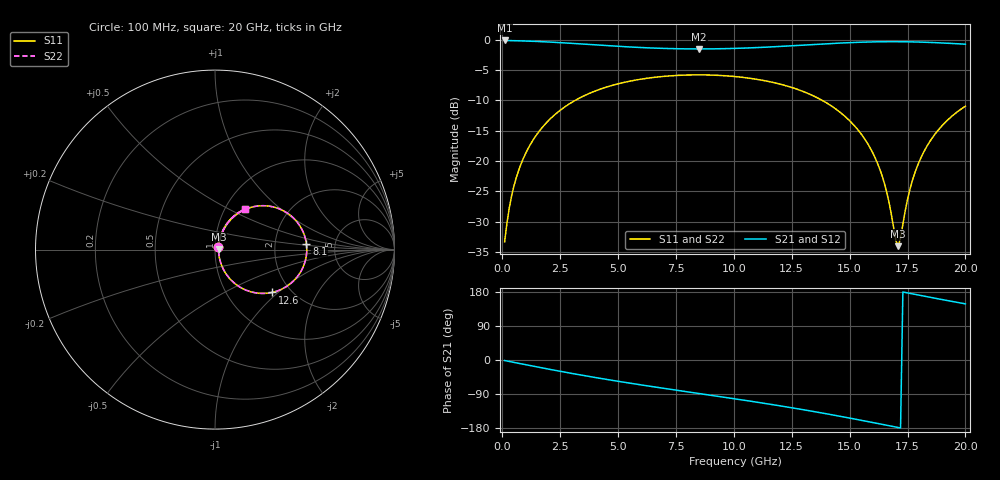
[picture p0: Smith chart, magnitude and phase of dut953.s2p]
! Touchstone file exported from HFSS 2026.1.0
!  File:  C:/ffzhzh/LocalFiles/Ansys_Project_Files/temp_train_TSV_RDL_953_1783283489_30076.aedt
!  Generated:  04:43:00 AM Jul  6, 2026
!  Design:  TSV_RDL
!  Project:  temp_train_TSV_RDL_953_1783283489_30076
! Variables:
!  h_bsmrdl = 3.24um
!  h_ox = 20um
!  h_rdl = 5um
!  h_sub = 88.13um
!  h_tmrdl = 2.65um
!  h_tsv = 88.13um
!  h_via = 3um
!  l_bsmrdl = 164.02um
!  l_sub = 3382.29um
!  l_tmrdl = 579.35um
!  m_sub = 200um
!  pitch = 53.64um
!  r_tsv = 4.22um
!  s_tmrdl = 10um
!  w_bsmrdl = 29.2um
!  w_sub = 500um
!  w_tmrdl = 28.41um
!  x_tsv_center1 = 593.555um
!  x_tsv_center2 = 786.775um
!  x_tsv_center3 = 1394.535um
!  x_tsv_center4 = 1587.755um
!  x_tsv_center5 = 2195.515um
!  x_tsv_center6 = 2388.735um
# GHz S MA R 50.000000
! Terminal data exported
! Port[1] = TM_RDL1_1_T1
! Port[2] = TM_RDL5_1_T1
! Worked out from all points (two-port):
!   200 points, 100 MHz to 20 GHz, reference 50 ohm
!   highest |S21| = -0.15 dB at 100 MHz (marker M1); lowest = -1.6 dB at 8.5 GHz (marker M2)
!   |S21| within 3 dB of the highest: start of sweep to end of sweep
!   lowest |S11| = -34.1 dB at 17.1 GHz (marker M3), VSWR 1.04, Z = 52 + j0.15 ohm
!   |S11| at or under -10 dB: start of sweep to 3.162 GHz; 13.8 GHz to end of sweep
!   |S22| runs from -33.9 to -5.8 dB; largest |S21 - S12| = 1.6e-14
!   S11 on the Smith chart (normalised r, x): 100 MHz: 1.04, +0.02; 8.1 GHz: 3.06, +0.24; 12.6 GHz: 1.61, -0.91; 20 GHz: 1.24, +0.61
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0.1  0.0215 33.9  0.9824 -1.3  0.9824 -1.3  0.0215 33.9
! Gamma 0 0 0 0
! Port Impedance 50 0 50 0
0.3  0.04075 58.4  0.9803 -3.8  0.9803 -3.8  0.04075 58.4
0.5  0.06178 64.6  0.978 -6.3  0.978 -6.3  0.06178 64.6
1.1  0.1249 66.5  0.9705 -13.5  0.9705 -13.5  0.1249 66.5
2.1  0.2247 59.0  0.9519 -25.2  0.9519 -25.2  0.2247 59.0
3.5  0.3417 45.4  0.9167 -40.8  0.9167 -40.8  0.3417 45.4
6.8  0.4935 14.6  0.8468 -73.2  0.8468 -73.2  0.4935 14.6
8.1  0.5106 3.3  0.8369 -84.9  0.8369 -84.9  0.5106 3.3
8.5  0.5114 -0.2  0.8364 -88.5  0.8364 -88.5  0.5114 -0.2
10.1  0.4943 -14.1  0.8455 -102.9  0.8455 -102.9  0.4944 -14.1
12.6  0.397 -37.0  0.8902 -127.0  0.8902 -127.0  0.3971 -37.0
13.4  0.3458 -44.7  0.9088 -135.4  0.9088 -135.4  0.3459 -44.7
14.6  0.2506 -56.4  0.9352 -148.7  0.9352 -148.7  0.2506 -56.4
15.6  0.1566 -65.0  0.9517 -160.2  0.9517 -160.2  0.1566 -64.9
16.2  0.09601 -67.3  0.9576 -167.4  0.9576 -167.4  0.0961 -67.2
16.7  0.04573 -59.5  0.9598 -173.4  0.9598 -173.4  0.04589 -59.1
17  0.02185 -23.8  0.9599 -177.0  0.9599 -177.0  0.02216 -23.5
17.1  0.01983 4.2  0.9596 -178.2  0.9596 -178.2  0.02015 4.0
17.6  0.05787 64.4  0.957 175.8  0.957 175.8  0.05796 64.1
18.1  0.1082 68.0  0.9518 169.9  0.9518 169.9  0.1082 67.8
18.9  0.1864 63.3  0.9389 160.5  0.9389 160.5  0.1864 63.2
20  0.2823 53.3  0.9148 148.1  0.9148 148.1  0.2823 53.3
